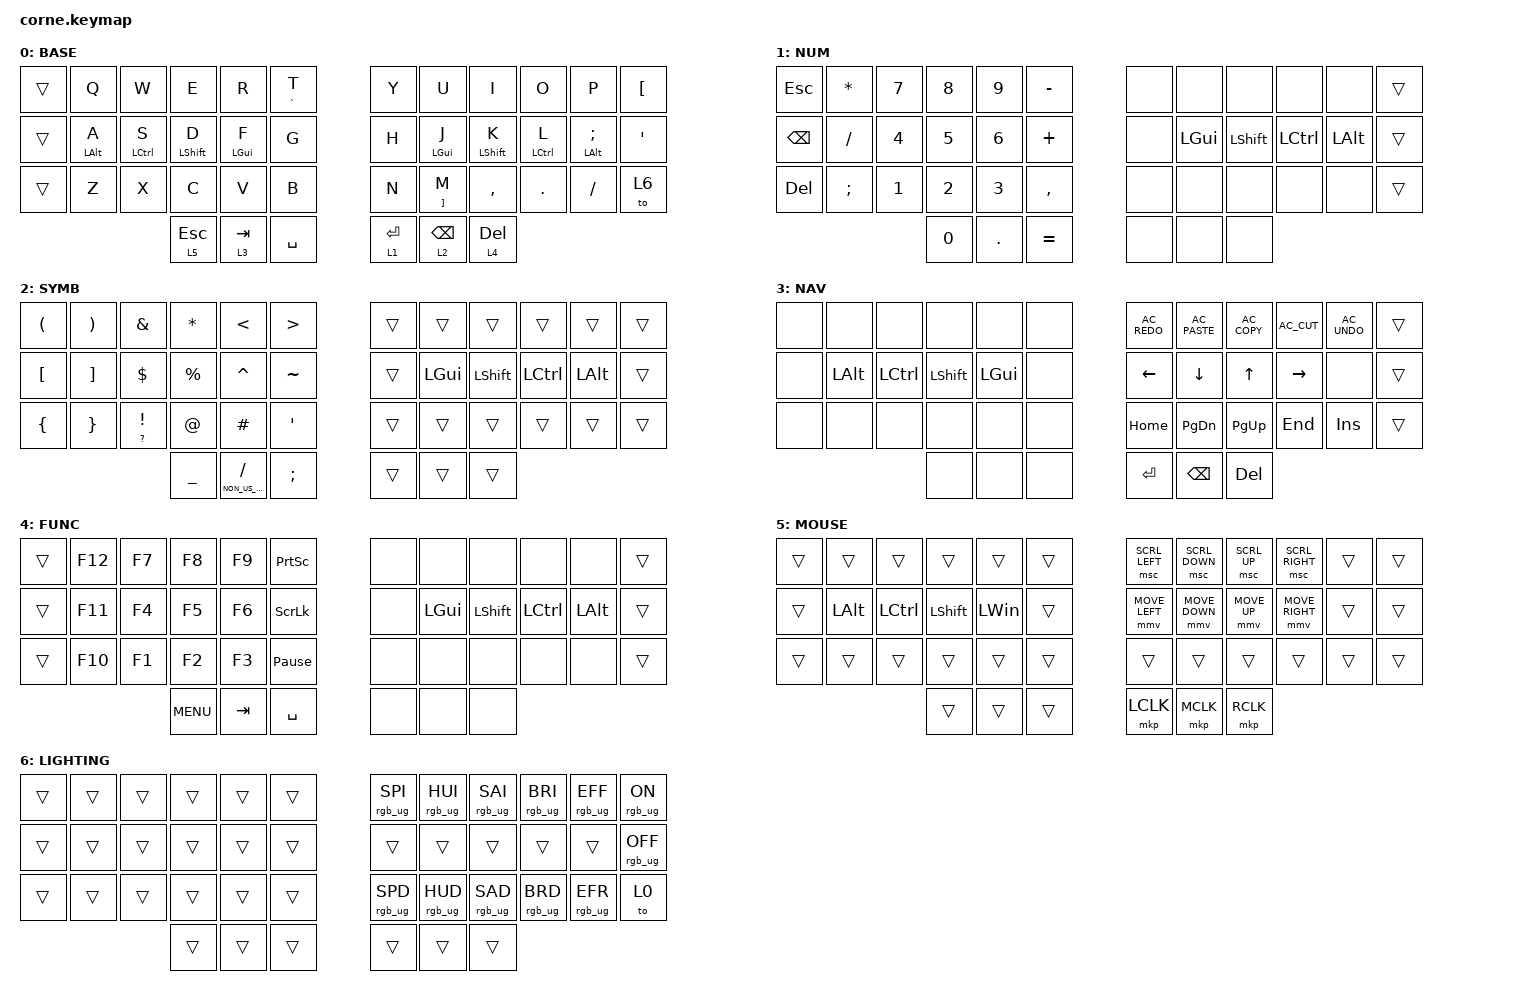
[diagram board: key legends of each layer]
#define ZMK_POINTING_DEFAULT_MOVE_VAL 600
#define ZMK_POINTING_DEFAULT_SCRL_VAL 10

#include <behaviors.dtsi>
#include <dt-bindings/zmk/keys.h>
#include <dt-bindings/zmk/pointing.h>
#include <dt-bindings/zmk/rgb.h>

&led_strip {
    // chain-length = <0>;

    chain-length = <27>;

    // 21 backlight + 6 glowlight
};

#define TAPPING_TERM 200

/ {
    behaviors {
        /*
    * td_lock groups locking functions into one key:
    *  - tap once to lock the host
    *  - tap twice to put the host to sleep
    */

        td_lock: tap_dance_lock {
            compatible = "zmk,behavior-tap-dance";
            label = "TAP_DANCE_LOCK";
            #binding-cells = <0>;
            tapping-term-ms = <TAPPING_TERM>;
            bindings = <&kp LG(LC(Q))>, <&kp LG(LA(C_EJECT))>;
        };

        HMR: HMR {
            compatible = "zmk,behavior-hold-tap";
            label = "HMR";
            bindings = <&kp>, <&kp>;

            #binding-cells = <2>;
            tapping-term-ms = <280>;
            quick-tap-ms = <175>;
            flavor = "tap-preferred";
            hold-trigger-key-positions = <6 18 30 31 19 7 8 20 32 33 21 9 10 22 34 35 23 11 39 40 41 36 37 38>;
            hold-trigger-on-release;
        };

        HML: HML {
            compatible = "zmk,behavior-hold-tap";
            label = "HML";
            bindings = <&kp>, <&kp>;

            #binding-cells = <2>;
            tapping-term-ms = <280>;
            quick-tap-ms = <175>;
            flavor = "tap-preferred";
            hold-trigger-key-positions = <39 40 41 36 37 38 0 12 24 25 13 1 2 14 26 27 15 3 4 16 28 29 17 5>;
            hold-trigger-on-release;
        };

        HMLay: HMLay {
            compatible = "zmk,behavior-hold-tap";
            label = "HMLAY";
            bindings = <&lt>, <&kp>;

            #binding-cells = <2>;
            tapping-term-ms = <280>;
            quick-tap-ms = <175>;
            flavor = "tap-preferred";
            hold-trigger-key-positions = <36 37 38 39 40 41>;
            hold-trigger-on-release;
        };
    };

    combos {
        compatible = "zmk,combos";

        left_parenthesis {
            bindings = <&kp LEFT_PARENTHESIS>;
            key-positions = <4 5>;
        };

        left_bracket {
            bindings = <&kp LEFT_BRACKET>;
            key-positions = <16 17>;
        };

        left_brace {
            bindings = <&kp LEFT_BRACE>;
            key-positions = <28 29>;
        };

        right_parenthesis {
            bindings = <&kp RIGHT_PARENTHESIS>;
            key-positions = <6 7>;
        };

        right_bracket {
            bindings = <&kp RIGHT_BRACKET>;
            key-positions = <18 19>;
        };

        right_brace {
            bindings = <&kp RIGHT_BRACE>;
            key-positions = <30 31>;
        };

        underscore {
            bindings = <&kp UNDERSCORE>;
            key-positions = <31 32>;
        };

        pipe {
            bindings = <&kp PIPE>;
            key-positions = <8 20>;
        };

        quote {
            bindings = <&kp SQT>;
            key-positions = <8 3>;
        };

        double_quotes {
            bindings = <&kp DOUBLE_QUOTES>;
            key-positions = <3 8 2 9>;
        };

        L_THAN {
            bindings = <&kp LESS_THAN>;
            key-positions = <5 17>;
        };

        R_THAN {
            bindings = <&kp GREATER_THAN>;
            key-positions = <6 18>;
        };
    };

    keymap {
        compatible = "zmk,keymap";

        base {
            label = "BASE";
            bindings = <
&trans  &kp Q            &kp W         &kp E              &kp R            &mt GRAVE T    &kp Y        &kp U                &kp I              &kp O         &kp P               &kp LEFT_BRACKET
&trans  &HML LEFT_ALT A  &HML LCTRL S  &HML LEFT_SHIFT D  &HML LEFT_GUI F  &kp G          &kp H        &HMR LEFT_GUI J      &HMR LEFT_SHIFT K  &HMR LCTRL L  &HMR LEFT_ALT SEMI  &kp SINGLE_QUOTE
&trans  &kp Z            &kp X         &kp C              &kp V            &kp B          &kp N        &mt RIGHT_BRACKET M  &kp COMMA          &kp DOT       &kp SLASH           &to 6
                                       &lt 5 ESCAPE       &lt 3 TAB        &kp SPACE      &lt 1 ENTER  &lt 2 BACKSPACE      &lt 4 DELETE
            >;
        };

        numeric {
            label = "NUM";
            bindings = <
&kp ESCAPE     &kp ASTERISK   &kp NUMBER_7  &kp NUMBER_8  &kp NUMBER_9  &kp MINUS    &none  &none         &none           &none      &none         &trans
&kp BACKSPACE  &kp SLASH      &kp NUMBER_4  &kp N5        &kp NUMBER_6  &kp PLUS     &none  &kp LEFT_GUI  &kp LEFT_SHIFT  &kp LCTRL  &kp LEFT_ALT  &trans
&kp DELETE     &kp SEMICOLON  &kp NUMBER_1  &kp NUMBER_2  &kp NUMBER_3  &kp COMMA    &none  &none         &none           &none      &none         &trans
                                            &kp NUMBER_0  &kp DOT       &kp EQUAL    &none  &none         &none
            >;
        };

        symbolic {
            bindings = <
&kp LEFT_PARENTHESIS  &kp RIGHT_PARENTHESIS  &kp AMPERSAND              &kp ASTERISK    &kp LESS_THAN                &kp GREATER_THAN    &trans  &trans        &trans          &trans     &trans        &trans
&kp LEFT_BRACKET      &kp RIGHT_BRACKET      &kp DOLLAR                 &kp PERCENT     &kp CARET                    &kp TILDE           &trans  &kp LEFT_GUI  &kp LEFT_SHIFT  &kp LCTRL  &kp LEFT_ALT  &trans
&kp LEFT_BRACE        &kp RIGHT_BRACE        &HML QUESTION EXCLAMATION  &kp AT_SIGN     &kp HASH                     &kp SQT             &trans  &trans        &trans          &trans     &trans        &trans
                                                                        &kp UNDERSCORE  &HML NON_US_BACKSLASH SLASH  &kp SEMICOLON       &trans  &trans        &trans
            >;

            label = "SYMB";
        };

        navigation {
            bindings = <
&none  &none         &none      &none           &none         &none    &kp C_AC_REDO  &kp C_AC_PASTE  &kp C_AC_COPY  &kp C_AC_CUT  &kp C_AC_UNDO  &trans
&none  &kp LEFT_ALT  &kp LCTRL  &kp LEFT_SHIFT  &kp LEFT_GUI  &none    &kp LEFT       &kp DOWN        &kp UP         &kp RIGHT     &none          &trans
&none  &none         &none      &none           &none         &none    &kp HOME       &kp PAGE_DOWN   &kp PAGE_UP    &kp END       &kp INSERT     &trans
                                &none           &none         &none    &kp ENTER      &kp BACKSPACE   &kp DELETE
            >;

            label = "NAV";
        };

        function {
            label = "FUNC";
            bindings = <
&trans  &kp F12  &kp F7  &kp F8      &kp F9   &kp PRINTSCREEN    &none  &none         &none           &none      &none         &trans
&trans  &kp F11  &kp F4  &kp F5      &kp F6   &kp SCROLLLOCK     &none  &kp LEFT_GUI  &kp LEFT_SHIFT  &kp LCTRL  &kp LEFT_ALT  &trans
&trans  &kp F10  &kp F1  &kp F2      &kp F3   &kp PAUSE_BREAK    &none  &none         &none           &none      &none         &trans
                         &kp C_MENU  &kp TAB  &kp SPACE          &none  &none         &none
            >;
        };

        mouse {
            bindings = <
&trans  &trans        &trans     &trans          &trans        &trans    &msc SCRL_LEFT  &msc SCRL_DOWN  &msc SCRL_UP  &msc SCRL_RIGHT  &trans  &trans
&trans  &kp LEFT_ALT  &kp LCTRL  &kp LEFT_SHIFT  &kp LEFT_WIN  &trans    &mmv MOVE_LEFT  &mmv MOVE_DOWN  &mmv MOVE_UP  &mmv MOVE_RIGHT  &trans  &trans
&trans  &trans        &trans     &trans          &trans        &trans    &trans          &trans          &trans        &trans           &trans  &trans
                                 &trans          &trans        &trans    &mkp LCLK       &mkp MCLK       &mkp RCLK
            >;

            label = "MOUSE";
        };

        lighting {
            bindings = <
&trans  &trans  &trans  &trans  &trans  &trans    &rgb_ug RGB_SPI  &rgb_ug RGB_HUI  &rgb_ug RGB_SAI  &rgb_ug RGB_BRI  &rgb_ug RGB_EFF  &rgb_ug RGB_ON
&trans  &trans  &trans  &trans  &trans  &trans    &trans           &trans           &trans           &trans           &trans           &rgb_ug RGB_OFF
&trans  &trans  &trans  &trans  &trans  &trans    &rgb_ug RGB_SPD  &rgb_ug RGB_HUD  &rgb_ug RGB_SAD  &rgb_ug RGB_BRD  &rgb_ug RGB_EFR  &to 0
                        &trans  &trans  &trans    &trans           &trans           &trans
            >;

            label = "LIGHTING";
        };
    };

    conditional_layers { compatible = "zmk,conditional-layers"; };
};
